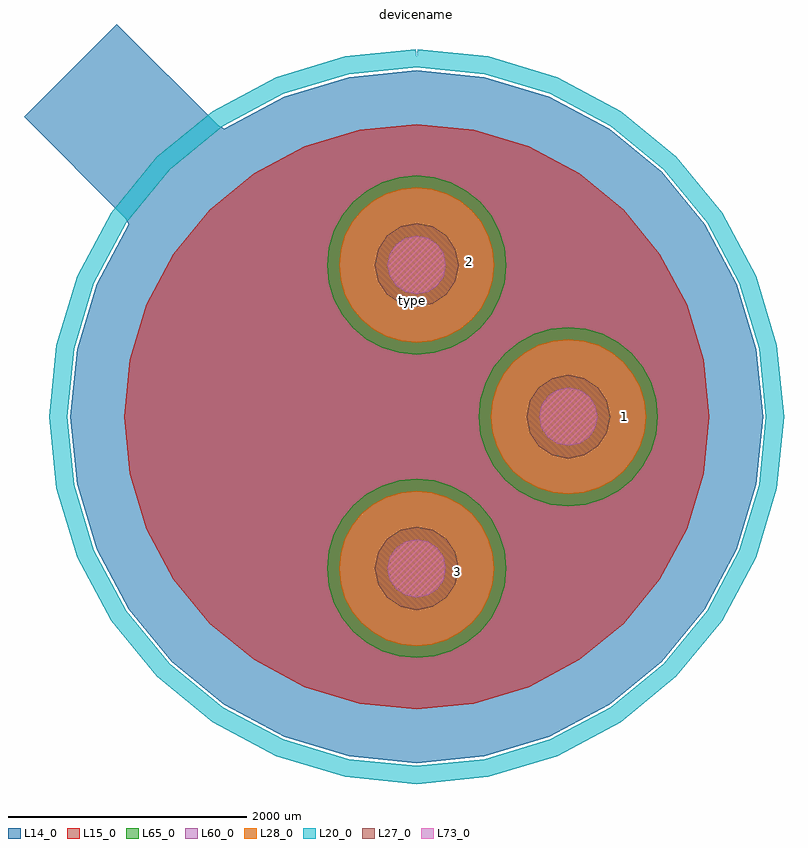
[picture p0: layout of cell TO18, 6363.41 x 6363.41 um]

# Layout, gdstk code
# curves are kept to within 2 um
import gdstk
lib = gdstk.Library(unit=1e-6, precision=1e-09)
def P(c, l, *ps):  # polygons
    for p in ps: c.add(gdstk.Polygon(p, *l))
L14_0 = (14, 0)
L15_0 = (15, 0)
L20_0 = (20, 0)
L27_0 = (27, 0)
L28_0 = (28, 0)
L60_0 = (60, 0)
L65_0 = (65, 0)
L73_0 = (73, 0)

to18 = lib.new_cell('TO18')
P(to18, L14_0, [(-2510.229,3288.047),(-3288.047,2510.229),(-2439.518,1661.701),(-2411.262,1611.154),(-2679.251,1109.782),(-2844.277,565.762),(-2900,0),(-2844.277,-565.762),(-2679.251,-1109.782),(-2411.262,-1611.154),(-2050.61,-2050.61),(-1611.154,-2411.262),(-1109.782,-2679.251),(-565.762,-2844.277),(0,-2900),(565.762,-2844.277),(1109.782,-2679.251),(1611.154,-2411.262),(2050.61,-2050.61),(2411.262,-1611.154),(2679.251,-1109.782),(2844.277,-565.762),(2900,0),(2844.277,565.762),(2679.251,1109.782),(2411.262,1611.154),(2050.61,2050.61),(1611.154,2411.262),(1109.782,2679.251),(565.762,2844.277),(0,2900),(-565.762,2844.277),(-1109.782,2679.251),(-1611.154,2411.262),(-1661.701,2439.518)])
P(to18, L15_0, [(2450,0),(2402.924,477.971),(2263.505,937.574),(2037.101,1361.147),(1732.412,1732.412),(1361.147,2037.101),(937.574,2263.505),(477.971,2402.924),(0,2450),(-477.971,2402.924),(-937.574,2263.505),(-1361.147,2037.101),(-1732.412,1732.412),(-2037.101,1361.147),(-2263.505,937.574),(-2402.924,477.971),(-2450,0),(-2402.924,-477.971),(-2263.505,-937.574),(-2037.101,-1361.147),(-1732.412,-1732.412),(-1361.147,-2037.101),(-937.574,-2263.505),(-477.971,-2402.924),(0,-2450),(477.971,-2402.924),(937.574,-2263.505),(1361.147,-2037.101),(1732.412,-1732.412),(2037.101,-1361.147),(2263.505,-937.574),(2402.924,-477.971)])
P(to18, L27_0, [(350,1270),(323.358,1403.939),(247.487,1517.487),(133.939,1593.358),(0,1620),(-133.939,1593.358),(-247.487,1517.487),(-323.358,1403.939),(-350,1270),(-323.358,1136.061),(-247.487,1022.513),(-133.939,946.642),(0,920),(133.939,946.642),(247.487,1022.513),(323.358,1136.061)],
  [(350,-1270),(323.358,-1136.061),(247.487,-1022.513),(133.939,-946.642),(0,-920),(-133.939,-946.642),(-247.487,-1022.513),(-323.358,-1136.061),(-350,-1270),(-323.358,-1403.939),(-247.487,-1517.487),(-133.939,-1593.358),(0,-1620),(133.939,-1593.358),(247.487,-1517.487),(323.358,-1403.939)],
  [(1620,0),(1593.358,133.939),(1517.487,247.487),(1403.939,323.358),(1270,350),(1136.061,323.358),(1022.513,247.487),(946.642,133.939),(920,0),(946.642,-133.939),(1022.513,-247.487),(1136.061,-323.358),(1270,-350),(1403.939,-323.358),(1517.487,-247.487),(1593.358,-133.939)])
P(to18, L28_0, [(0,1920),(-126.809,1907.51),(-248.744,1870.522),(-361.121,1810.455),(-459.619,1729.619),(-540.455,1631.121),(-600.522,1518.744),(-637.51,1396.809),(-650,1270),(-637.51,1143.191),(-600.522,1021.256),(-540.455,908.879),(-459.619,810.381),(-361.121,729.545),(-248.744,669.478),(-126.809,632.49),(0,620),(126.809,632.49),(248.744,669.478),(361.121,729.545),(459.619,810.381),(540.455,908.879),(600.522,1021.256),(637.51,1143.191),(650,1270),(637.51,1396.809),(600.522,1518.744),(540.455,1631.121),(459.619,1729.619),(361.121,1810.455),(248.744,1870.522),(126.809,1907.51)],
  [(0,-620),(-126.809,-632.49),(-248.744,-669.478),(-361.121,-729.545),(-459.619,-810.381),(-540.455,-908.879),(-600.522,-1021.256),(-637.51,-1143.191),(-650,-1270),(-637.51,-1396.809),(-600.522,-1518.744),(-540.455,-1631.121),(-459.619,-1729.619),(-361.121,-1810.455),(-248.744,-1870.522),(-126.809,-1907.51),(0,-1920),(126.809,-1907.51),(248.744,-1870.522),(361.121,-1810.455),(459.619,-1729.619),(540.455,-1631.121),(600.522,-1518.744),(637.51,-1396.809),(650,-1270),(637.51,-1143.191),(600.522,-1021.256),(540.455,-908.879),(459.619,-810.381),(361.121,-729.545),(248.744,-669.478),(126.809,-632.49)],
  [(1270,650),(1143.191,637.51),(1021.256,600.522),(908.879,540.455),(810.381,459.619),(729.545,361.121),(669.478,248.744),(632.49,126.809),(620,0),(632.49,-126.809),(669.478,-248.744),(729.545,-361.121),(810.381,-459.619),(908.879,-540.455),(1021.256,-600.522),(1143.191,-637.51),(1270,-650),(1396.809,-637.51),(1518.744,-600.522),(1631.121,-540.455),(1729.619,-459.619),(1810.455,-361.121),(1870.522,-248.744),(1907.51,-126.809),(1920,0),(1907.51,126.809),(1870.522,248.744),(1810.455,361.121),(1729.619,459.619),(1631.121,540.455),(1518.744,600.522),(1396.809,637.51)])
P(to18, L60_0, [(0,1920),(-126.809,1907.51),(-248.744,1870.522),(-361.121,1810.455),(-459.619,1729.619),(-540.455,1631.121),(-600.522,1518.744),(-637.51,1396.809),(-650,1270),(-637.51,1143.191),(-600.522,1021.256),(-540.455,908.879),(-459.619,810.381),(-361.121,729.545),(-248.744,669.478),(-126.809,632.49),(0,620),(126.809,632.49),(248.744,669.478),(361.121,729.545),(459.619,810.381),(540.455,908.879),(600.522,1021.256),(637.51,1143.191),(650,1270),(637.51,1396.809),(600.522,1518.744),(540.455,1631.121),(459.619,1729.619),(361.121,1810.455),(248.744,1870.522),(126.809,1907.51)],
  [(0,-620),(-126.809,-632.49),(-248.744,-669.478),(-361.121,-729.545),(-459.619,-810.381),(-540.455,-908.879),(-600.522,-1021.256),(-637.51,-1143.191),(-650,-1270),(-637.51,-1396.809),(-600.522,-1518.744),(-540.455,-1631.121),(-459.619,-1729.619),(-361.121,-1810.455),(-248.744,-1870.522),(-126.809,-1907.51),(0,-1920),(126.809,-1907.51),(248.744,-1870.522),(361.121,-1810.455),(459.619,-1729.619),(540.455,-1631.121),(600.522,-1518.744),(637.51,-1396.809),(650,-1270),(637.51,-1143.191),(600.522,-1021.256),(540.455,-908.879),(459.619,-810.381),(361.121,-729.545),(248.744,-669.478),(126.809,-632.49)],
  [(1270,650),(1143.191,637.51),(1021.256,600.522),(908.879,540.455),(810.381,459.619),(729.545,361.121),(669.478,248.744),(632.49,126.809),(620,0),(632.49,-126.809),(669.478,-248.744),(729.545,-361.121),(810.381,-459.619),(908.879,-540.455),(1021.256,-600.522),(1143.191,-637.51),(1270,-650),(1396.809,-637.51),(1518.744,-600.522),(1631.121,-540.455),(1729.619,-459.619),(1810.455,-361.121),(1870.522,-248.744),(1907.51,-126.809),(1920,0),(1907.51,126.809),(1870.522,248.744),(1810.455,361.121),(1729.619,459.619),(1631.121,540.455),(1518.744,600.522),(1396.809,637.51)])
P(to18, L65_0, [(735.826,1123.634),(750.242,1270.003),(735.826,1416.366),(693.133,1557.106),(623.802,1686.815),(530.502,1800.502),(416.814,1893.803),(287.105,1963.133),(146.365,2005.826),(0,2020.242),(-146.365,2005.826),(-287.105,1963.133),(-416.814,1893.803),(-530.502,1800.502),(-623.802,1686.815),(-693.133,1557.106),(-735.826,1416.366),(-750.242,1269.997),(-735.826,1123.634),(-693.133,982.894),(-623.802,853.185),(-530.502,739.498),(-416.814,646.197),(-287.105,576.867),(-146.365,534.174),(0,519.758),(146.365,534.174),(287.105,576.867),(416.814,646.197),(530.502,739.498),(623.802,853.185),(693.133,982.894)],
  [(735.826,-1416.366),(750.242,-1269.997),(735.826,-1123.634),(693.133,-982.894),(623.802,-853.185),(530.502,-739.498),(416.814,-646.197),(287.105,-576.867),(146.365,-534.174),(0,-519.758),(-146.365,-534.174),(-287.105,-576.867),(-416.814,-646.197),(-530.502,-739.498),(-623.802,-853.185),(-693.133,-982.894),(-735.826,-1123.634),(-750.242,-1270.003),(-735.826,-1416.366),(-693.133,-1557.106),(-623.802,-1686.815),(-530.502,-1800.502),(-416.814,-1893.803),(-287.105,-1963.133),(-146.365,-2005.826),(0,-2020.242),(146.365,-2005.826),(287.105,-1963.133),(416.814,-1893.803),(530.502,-1800.502),(623.802,-1686.815),(693.133,-1557.106)],
  [(2005.826,-146.366),(2020.242,0.003),(2005.826,146.366),(1963.133,287.106),(1893.802,416.815),(1800.502,530.502),(1686.814,623.803),(1557.105,693.133),(1416.365,735.826),(1270,750.242),(1123.635,735.826),(982.895,693.133),(853.186,623.803),(739.498,530.502),(646.198,416.815),(576.867,287.106),(534.174,146.366),(519.758,-0.003),(534.174,-146.366),(576.867,-287.106),(646.198,-416.815),(739.498,-530.502),(853.186,-623.803),(982.895,-693.133),(1123.635,-735.826),(1270,-750.242),(1416.365,-735.826),(1557.105,-693.133),(1686.814,-623.803),(1800.502,-530.502),(1893.802,-416.815),(1963.133,-287.106)])
P(to18, L73_0, [(245,1270),(226.35,1363.757),(173.241,1443.241),(93.757,1496.35),(0,1515),(-93.757,1496.35),(-173.241,1443.241),(-226.35,1363.757),(-245,1270),(-226.35,1176.243),(-173.241,1096.759),(-93.757,1043.65),(0,1025),(93.757,1043.65),(173.241,1096.759),(226.35,1176.243)],
  [(245,-1270),(226.35,-1176.243),(173.241,-1096.759),(93.757,-1043.65),(0,-1025),(-93.757,-1043.65),(-173.241,-1096.759),(-226.35,-1176.243),(-245,-1270),(-226.35,-1363.757),(-173.241,-1443.241),(-93.757,-1496.35),(0,-1515),(93.757,-1496.35),(173.241,-1443.241),(226.35,-1363.757)],
  [(1515,0),(1496.35,93.757),(1443.241,173.241),(1363.757,226.35),(1270,245),(1176.243,226.35),(1096.759,173.241),(1043.65,93.757),(1025,0),(1043.65,-93.757),(1096.759,-173.241),(1176.243,-226.35),(1270,-245),(1363.757,-226.35),(1443.241,-173.241),(1496.35,-93.757)])
to18.add(gdstk.FlexPath([(0,3000),(-585.271,2942.356),(-1148.05,2771.639),(-1666.711,2494.409),(-2121.32,2121.32),(-2494.409,1666.711),(-2771.639,1148.05),(-2942.356,585.271),(-3000,0),(-2942.356,-585.271),(-2771.639,-1148.05),(-2494.409,-1666.711),(-2121.32,-2121.32),(-1666.711,-2494.409),(-1148.05,-2771.639),(-585.271,-2942.356),(0,-3000),(585.271,-2942.356),(1148.05,-2771.639),(1666.711,-2494.409),(2121.32,-2121.32),(2494.409,-1666.711),(2771.639,-1148.05),(2942.356,-585.271),(3000,0),(2942.356,585.271),(2771.639,1148.05),(2494.409,1666.711),(2121.32,2121.32),(1666.711,2494.409),(1148.05,2771.639),(585.271,2942.356),(0,3000)], 150, ends="flush", simple_path=True, layer=20, datatype=0))  # L20_0
to18.add(gdstk.Label('3', (340,-1300), layer=28, texttype=0))
to18.add(gdstk.Label('2', (440,1300), layer=28, texttype=0))
to18.add(gdstk.Label('type', (-33.052,976.14), layer=11, texttype=0))
to18.add(gdstk.Label('devicename', (0,3370), layer=20, texttype=0))
to18.add(gdstk.Label('1', (1740,0), layer=28, texttype=0))

lib.write_gds('TO18.gds')
